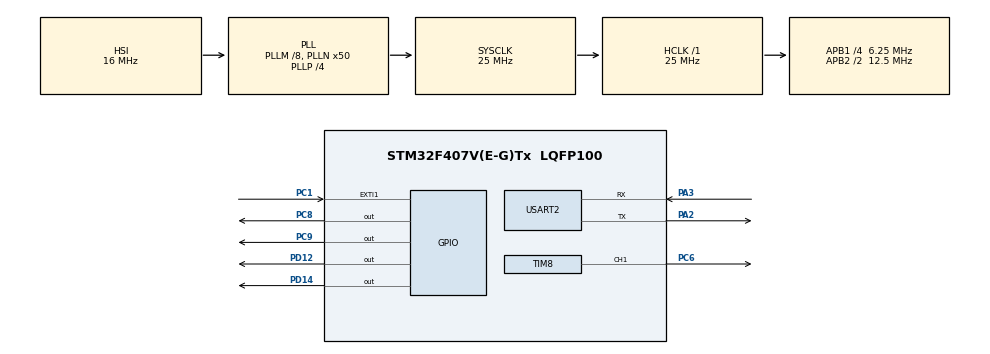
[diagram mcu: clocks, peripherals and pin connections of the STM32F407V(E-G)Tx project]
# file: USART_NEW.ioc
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Mcu.Family=STM32F4
Mcu.Name=STM32F407V(E-G)Tx
Mcu.Package=LQFP100
NVIC.PriorityGroup=NVIC_PRIORITYGROUP_0
NVIC.USART2_IRQn=true\:0\:0\:false\:false\:true\:true\:true\:true
PA2.Mode=Asynchronous
PA2.Signal=USART2_TX
PA3.Mode=Asynchronous
PA3.Signal=USART2_RX
PC1.Signal=GPXTI1
PC6.Signal=S_TIM8_CH1
PC8.Signal=GPIO_Output
PC9.Signal=GPIO_Output
PD12.Signal=GPIO_Output
PD14.Signal=GPIO_Output
ProjectManager.HeapSize=0x200
ProjectManager.StackSize=0x400
ProjectManager.TargetToolchain=STM32CubeIDE
RCC.48MHZClocksFreq_Value=14285714.285714285
RCC.AHBFreq_Value=25000000
RCC.APB1CLKDivider=RCC_HCLK_DIV4
RCC.APB1Freq_Value=6250000
RCC.APB1TimFreq_Value=12500000
RCC.APB2CLKDivider=RCC_HCLK_DIV2
RCC.APB2Freq_Value=12500000
RCC.APB2TimFreq_Value=25000000
RCC.CortexFreq_Value=25000000
RCC.HCLKFreq_Value=25000000
RCC.HSE_VALUE=8000000
RCC.HSI_VALUE=16000000
RCC.LSE_VALUE=32768
RCC.PLLM=8
RCC.PLLN=50
RCC.PLLP=RCC_PLLP_DIV4
RCC.PLLQ=7
RCC.SYSCLKFreq_VALUE=25000000
RCC.SYSCLKSource=RCC_SYSCLKSOURCE_PLLCLK
RCC.VCOOutputFreq_Value=100000000
SH.S_TIM8_CH1.0=TIM8_CH1,PWM Generation1 CH1
TIM8.Channel-PWM\ Generation1\ CH1=TIM_CHANNEL_1
TIM8.Period=100-1
TIM8.Prescaler=72-1
USART2.VirtualMode=VM_ASYNC
VP_TIM8_VS_ClockSourceINT.Mode=Internal
board=STM32F407G-DISC1

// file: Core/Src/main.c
/* USER CODE BEGIN Header */
/**
  ******************************************************************************
  * @file           : main.c
  * @brief          : Main program body
  ******************************************************************************
  * @attention
  *
  * Copyright (c) 2024 STMicroelectronics.
  * All rights reserved.
  *
  * This software is licensed under terms that can be found in the LICENSE file
  * in the root directory of this software component.
  * If no LICENSE file comes with this software, it is provided AS-IS.
  *
  ******************************************************************************
  */
/* USER CODE END Header */
#include "main.h"

/* USER CODE BEGIN Includes */
#include<stdio.h>
#include<string.h>
/* USER CODE END Includes */

TIM_HandleTypeDef htim8;

UART_HandleTypeDef huart2;

/* USER CODE BEGIN PV */
volatile uint32_t flag = 0;
/* USER CODE END PV */

void SystemClock_Config(void);
static void MX_GPIO_Init(void);
static void MX_USART2_UART_Init(void);
static void MX_TIM8_Init(void);

/* USER CODE BEGIN 0 */
void receive_choice(char str[])
{
     int i=0;
     char ch;
     do{
         HAL_UART_Receive(&huart2, (uint8_t *)&ch, 1, HAL_MAX_DELAY);
         str[i++]=ch;
     }while(ch!='\r');
        str[i++]='\n';
        str[i]='\0';
}

void receive_number(char str2[])
{
	  int i=0;
	     char ch;
	     do{
	         HAL_UART_Receive(&huart2, (uint8_t *)&ch, 1, HAL_MAX_DELAY);
	         str2[i++]=ch;
	     }while(ch!='\r');
	        str2[i++]='\n';
	        str2[i]='\0';
}
/* USER CODE END 0 */

int main(void)
{

  /* USER CODE BEGIN 1 */
	char str[20];
	    uint32_t choice;
	    int value = 0;
	    char str1[20];
	    char str2[20];
	    int number;
	    int mask = 1;
	    int res;
  /* USER CODE END 1 */

  /* MCU Configuration--------------------------------------------------------*/

  /* Reset of all peripherals, Initializes the Flash interface and the Systick. */
  HAL_Init();

  /* Configure the system clock */
  SystemClock_Config();

  /* Initialize all configured peripherals */
  MX_GPIO_Init();
  MX_USART2_UART_Init();
  MX_TIM8_Init();
  /* USER CODE BEGIN 2 */
  int i=0;
  HAL_GPIO_WritePin(GPIOC, GPIO_PIN_8, 1);
  HAL_GPIO_WritePin(GPIOC, GPIO_PIN_9, 0);

  HAL_TIM_PWM_Start(&htim8, TIM_CHANNEL_1);
  /* USER CODE END 2 */

  /* Infinite loop */
  while (1)
  {

    /* USER CODE BEGIN 3 */
	  do{
	  	  HAL_UART_Transmit(&huart2, (uint8_t *)"Name = Pavan Pandharinath Karpe\r\n", sizeof("Name = Pavan Pandharinath Karpe\r\n"), HAL_MAX_DELAY);
	  	  HAL_UART_Transmit(&huart2, (uint8_t *)"ROLL NO: 80807\r\n", sizeof("ROLL NO: 80807\r\n"), HAL_MAX_DELAY);

	  	  HAL_UART_Transmit(&huart2, (uint8_t *)"list of cases\r\n", sizeof("list of cases\r\n"), HAL_MAX_DELAY);
	  	  HAL_UART_Transmit(&huart2, (uint8_t *)"1. LED Pattern\r\n", sizeof("1. LED Pattern\r\n"), HAL_MAX_DELAY);
	  	  HAL_UART_Transmit(&huart2, (uint8_t *)"2. Parity Check\r\n", sizeof("2. Parity Check\r\n"), HAL_MAX_DELAY);
	  	  HAL_UART_Transmit(&huart2, (uint8_t *)"3. ADC Reading\r\n", sizeof("3. ADC Reading\r\n"), HAL_MAX_DELAY);
	  	  HAL_UART_Transmit(&huart2, (uint8_t *)"Enter your choice\r\n", sizeof("Enter your choice\r\n"), HAL_MAX_DELAY);

	  	  receive_choice(str);
	  	  choice = str[0]-'0';

	  	 switch(choice)
	  		  {
	  		  case 1:
	  			while (1)
	  			  {
	  				for(i=20; i<=60;i++)
	  				  {
	  					htim8.Instance->CCR1 = i;
	  					HAL_Delay(100);
	  					HAL_GPIO_TogglePin(GPIOD, GPIO_PIN_12);
	  				  }

	  				//HAL_Delay(5000);
	  			  }
	  			  break;

	  		  case 2:
	  			while (1)
	  				{
	  	  				for(i=60; i<=100;i++)
	  	  				{
	  						htim8.Instance->CCR1 = i;
		  					HAL_Delay(100);
	  				  		HAL_GPIO_TogglePin(GPIOD, GPIO_PIN_12);
	  	  				}

	  	  				//HAL_Delay(5000);
	  				}
	  					break;

	  		  case 3:
	  			while (1)
	  				{
	  	  				for(i=100; i<=20;i++)
	  	  				{
	  						htim8.Instance->CCR1 = i;
	 	 					HAL_Delay(100);
							HAL_GPIO_TogglePin(GPIOD, GPIO_PIN_12);
	  	  				}

	  	  				//HAL_Delay(5000);
	  				  }
			  			  break;
	  		  }
  	  }while(1);
  }
  /* USER CODE END 3 */
}

void SystemClock_Config(void)
{
  RCC_OscInitTypeDef RCC_OscInitStruct = {0};
  RCC_ClkInitTypeDef RCC_ClkInitStruct = {0};

  /** Configure the main internal regulator output voltage
  */
  __HAL_RCC_PWR_CLK_ENABLE();
  __HAL_PWR_VOLTAGESCALING_CONFIG(PWR_REGULATOR_VOLTAGE_SCALE1);

  /** Initializes the RCC Oscillators according to the specified parameters
  * in the RCC_OscInitTypeDef structure.
  */
  RCC_OscInitStruct.OscillatorType = RCC_OSCILLATORTYPE_HSI;
  RCC_OscInitStruct.HSIState = RCC_HSI_ON;
  RCC_OscInitStruct.HSICalibrationValue = RCC_HSICALIBRATION_DEFAULT;
  RCC_OscInitStruct.PLL.PLLState = RCC_PLL_ON;
  RCC_OscInitStruct.PLL.PLLSource = RCC_PLLSOURCE_HSI;
  RCC_OscInitStruct.PLL.PLLM = 8;
  RCC_OscInitStruct.PLL.PLLN = 50;
  RCC_OscInitStruct.PLL.PLLP = RCC_PLLP_DIV4;
  RCC_OscInitStruct.PLL.PLLQ = 7;
  if (HAL_RCC_OscConfig(&RCC_OscInitStruct) != HAL_OK)
  {
    Error_Handler();
  }

  /** Initializes the CPU, AHB and APB buses clocks
  */
  RCC_ClkInitStruct.ClockType = RCC_CLOCKTYPE_HCLK|RCC_CLOCKTYPE_SYSCLK
                              |RCC_CLOCKTYPE_PCLK1|RCC_CLOCKTYPE_PCLK2;
  RCC_ClkInitStruct.SYSCLKSource = RCC_SYSCLKSOURCE_PLLCLK;
  RCC_ClkInitStruct.AHBCLKDivider = RCC_SYSCLK_DIV1;
  RCC_ClkInitStruct.APB1CLKDivider = RCC_HCLK_DIV4;
  RCC_ClkInitStruct.APB2CLKDivider = RCC_HCLK_DIV2;

  if (HAL_RCC_ClockConfig(&RCC_ClkInitStruct, FLASH_LATENCY_0) != HAL_OK)
  {
    Error_Handler();
  }
}

static void MX_TIM8_Init(void)
{

  TIM_ClockConfigTypeDef sClockSourceConfig = {0};
  TIM_MasterConfigTypeDef sMasterConfig = {0};
  TIM_OC_InitTypeDef sConfigOC = {0};
  TIM_BreakDeadTimeConfigTypeDef sBreakDeadTimeConfig = {0};

  htim8.Instance = TIM8;
  htim8.Init.Prescaler = 72-1;
  htim8.Init.CounterMode = TIM_COUNTERMODE_UP;
  htim8.Init.Period = 100-1;
  htim8.Init.ClockDivision = TIM_CLOCKDIVISION_DIV1;
  htim8.Init.RepetitionCounter = 0;
  htim8.Init.AutoReloadPreload = TIM_AUTORELOAD_PRELOAD_DISABLE;
  if (HAL_TIM_Base_Init(&htim8) != HAL_OK)
  {
    Error_Handler();
  }
  sClockSourceConfig.ClockSource = TIM_CLOCKSOURCE_INTERNAL;
  if (HAL_TIM_ConfigClockSource(&htim8, &sClockSourceConfig) != HAL_OK)
  {
    Error_Handler();
  }
  if (HAL_TIM_PWM_Init(&htim8) != HAL_OK)
  {
    Error_Handler();
  }
  sMasterConfig.MasterOutputTrigger = TIM_TRGO_RESET;
  sMasterConfig.MasterSlaveMode = TIM_MASTERSLAVEMODE_DISABLE;
  if (HAL_TIMEx_MasterConfigSynchronization(&htim8, &sMasterConfig) != HAL_OK)
  {
    Error_Handler();
  }
  sConfigOC.OCMode = TIM_OCMODE_PWM1;
  sConfigOC.Pulse = 0;
  sConfigOC.OCPolarity = TIM_OCPOLARITY_HIGH;
  sConfigOC.OCNPolarity = TIM_OCNPOLARITY_HIGH;
  sConfigOC.OCFastMode = TIM_OCFAST_DISABLE;
  sConfigOC.OCIdleState = TIM_OCIDLESTATE_RESET;
  sConfigOC.OCNIdleState = TIM_OCNIDLESTATE_RESET;
  if (HAL_TIM_PWM_ConfigChannel(&htim8, &sConfigOC, TIM_CHANNEL_1) != HAL_OK)
  {
    Error_Handler();
  }
  sBreakDeadTimeConfig.OffStateRunMode = TIM_OSSR_DISABLE;
  sBreakDeadTimeConfig.OffStateIDLEMode = TIM_OSSI_DISABLE;
  sBreakDeadTimeConfig.LockLevel = TIM_LOCKLEVEL_OFF;
  sBreakDeadTimeConfig.DeadTime = 0;
  sBreakDeadTimeConfig.BreakState = TIM_BREAK_DISABLE;
  sBreakDeadTimeConfig.BreakPolarity = TIM_BREAKPOLARITY_HIGH;
  sBreakDeadTimeConfig.AutomaticOutput = TIM_AUTOMATICOUTPUT_DISABLE;
  if (HAL_TIMEx_ConfigBreakDeadTime(&htim8, &sBreakDeadTimeConfig) != HAL_OK)
  {
    Error_Handler();
  }
  HAL_TIM_MspPostInit(&htim8);

}

static void MX_USART2_UART_Init(void)
{

  huart2.Instance = USART2;
  huart2.Init.BaudRate = 115200;
  huart2.Init.WordLength = UART_WORDLENGTH_8B;
  huart2.Init.StopBits = UART_STOPBITS_1;
  huart2.Init.Parity = UART_PARITY_NONE;
  huart2.Init.Mode = UART_MODE_TX_RX;
  huart2.Init.HwFlowCtl = UART_HWCONTROL_NONE;
  huart2.Init.OverSampling = UART_OVERSAMPLING_16;
  if (HAL_UART_Init(&huart2) != HAL_OK)
  {
    Error_Handler();
  }

}

static void MX_GPIO_Init(void)
{
  GPIO_InitTypeDef GPIO_InitStruct = {0};

  /* GPIO Ports Clock Enable */
  __HAL_RCC_GPIOC_CLK_ENABLE();
  __HAL_RCC_GPIOA_CLK_ENABLE();
  __HAL_RCC_GPIOD_CLK_ENABLE();

  /*Configure GPIO pin Output Level */
  HAL_GPIO_WritePin(GPIOD, GPIO_PIN_12|GPIO_PIN_14, GPIO_PIN_RESET);

  /*Configure GPIO pin Output Level */
  HAL_GPIO_WritePin(GPIOC, GPIO_PIN_8|GPIO_PIN_9, GPIO_PIN_RESET);

  /*Configure GPIO pin : PC1 */
  GPIO_InitStruct.Pin = GPIO_PIN_1;
  GPIO_InitStruct.Mode = GPIO_MODE_IT_RISING;
  GPIO_InitStruct.Pull = GPIO_NOPULL;
  HAL_GPIO_Init(GPIOC, &GPIO_InitStruct);

  /*Configure GPIO pins : PD12 PD14 */
  GPIO_InitStruct.Pin = GPIO_PIN_12|GPIO_PIN_14;
  GPIO_InitStruct.Mode = GPIO_MODE_OUTPUT_PP;
  GPIO_InitStruct.Pull = GPIO_NOPULL;
  GPIO_InitStruct.Speed = GPIO_SPEED_FREQ_LOW;
  HAL_GPIO_Init(GPIOD, &GPIO_InitStruct);

  /*Configure GPIO pins : PC8 PC9 */
  GPIO_InitStruct.Pin = GPIO_PIN_8|GPIO_PIN_9;
  GPIO_InitStruct.Mode = GPIO_MODE_OUTPUT_PP;
  GPIO_InitStruct.Pull = GPIO_NOPULL;
  GPIO_InitStruct.Speed = GPIO_SPEED_FREQ_LOW;
  HAL_GPIO_Init(GPIOC, &GPIO_InitStruct);

}

void Error_Handler(void)
{
  __disable_irq();
  while (1)
  {
  }
}
